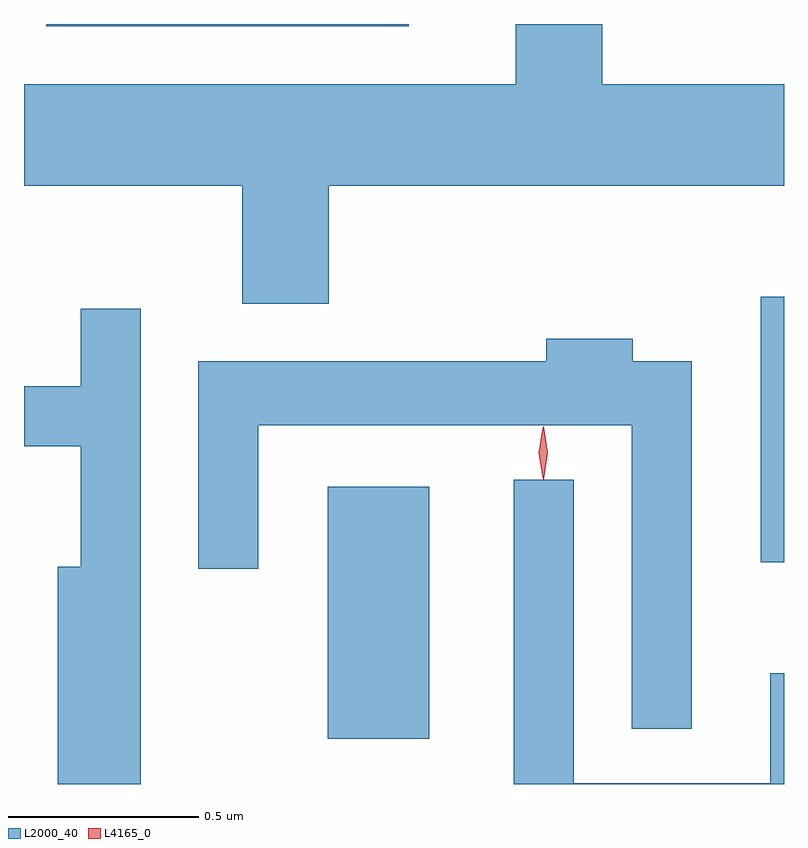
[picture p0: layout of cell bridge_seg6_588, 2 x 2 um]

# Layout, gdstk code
import gdstk
lib = gdstk.Library(unit=1e-6, precision=1e-09)
def R(c, l, rs):  # rectangles x0, y0, x1, y1
    for r in rs: c.add(gdstk.rectangle(r[:2], r[2:], *l))
def P(c, l, *ps):  # polygons
    for p in ps: c.add(gdstk.Polygon(p, *l))
L2000_40 = (2000, 40)
L4165_0 = (4165, 0)

bridge_seg6_588 = lib.new_cell('bridge_seg6_588')
R(bridge_seg6_588, L2000_40, [(485.366,1635.161,485.634,1635.824), (486.506,1635.626,486.567,1636.324), (484.626,1637.036,485.579,1637.042)])
P(bridge_seg6_588, L2000_40, [(485.369,1636.616),(486.567,1636.616),(486.567,1636.884),(486.089,1636.884),(486.089,1637.042),(485.861,1637.042),(485.861,1636.884),(484.567,1636.884),(484.567,1636.616),(485.141,1636.616),(485.141,1636.306),(485.369,1636.306)],
  [(486.567,1637.042),(486.353,1637.042),(486.354,1637.041),(486.567,1637.041)],
  [(484.874,1636.293),(484.716,1636.293),(484.716,1636.089),(484.567,1636.089),(484.567,1635.931),(484.716,1635.931),(484.716,1635.614),(484.656,1635.614),(484.656,1635.042),(484.874,1635.042)],
  [(486.324,1636.154),(486.169,1636.154),(486.169,1636.214),(485.941,1636.214),(485.941,1636.154),(485.026,1636.154),(485.026,1635.608),(485.184,1635.608),(485.184,1635.986),(486.166,1635.986),(486.166,1635.188),(486.324,1635.188)],
  [(486.567,1635.334),(486.531,1635.334),(486.531,1635.044),(486.014,1635.044),(486.014,1635.843),(485.856,1635.843),(485.856,1635.042),(486.567,1635.042)])
P(bridge_seg6_588, L4165_0, [(485.934,1635.844),(485.925,1635.914),(485.934,1635.982),(485.935,1635.983),(485.935,1635.982),(485.945,1635.914),(485.935,1635.844),(485.935,1635.844)],
  [(485.932,1635.847),(485.932,1635.848),(485.922,1635.914),(485.932,1635.98),(485.932,1635.98),(485.932,1635.98),(485.942,1635.914),(485.933,1635.848)])

lib.write_gds('bridge_seg6_588.gds')
